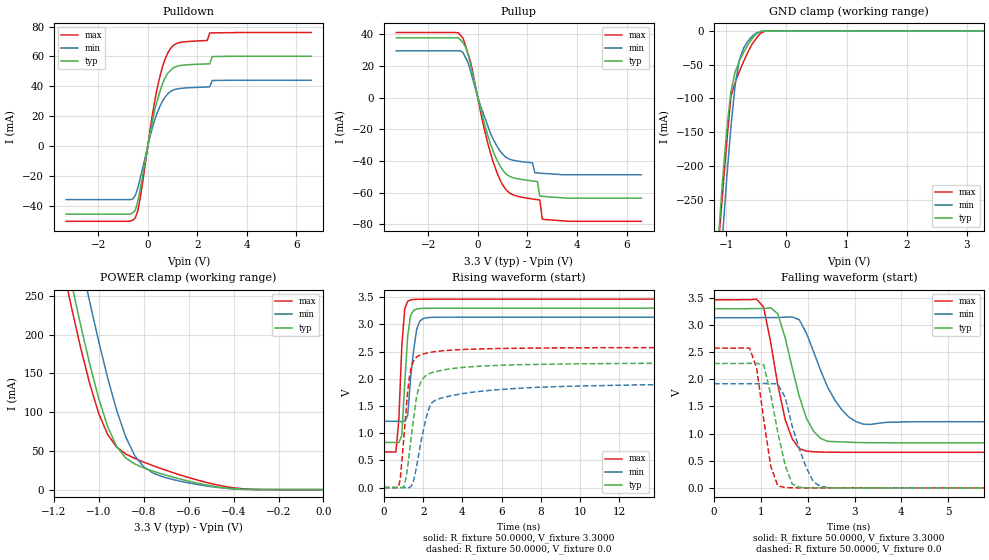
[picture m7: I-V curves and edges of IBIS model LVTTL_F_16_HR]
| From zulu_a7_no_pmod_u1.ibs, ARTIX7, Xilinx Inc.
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[Model]  LVTTL_F_16_HR
Model_type I/O
Polarity   Non-Inverting
Enable   Active-Low
Vinl = 0.80
Vinh = 2.00
Vmeas =  1.6500V
Cref =   0.0F
Rref =   1.0000M
Vref =   0.0V
C_comp   5.2300pF   5.1900pF   5.3600pF
[Temperature Range]   25.0000   85.0000   0.0
[Voltage Range]   3.3000V   3.1350V   3.46500V
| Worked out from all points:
|   slope of the pulldown table from 0 to 0.495 V, typ, clamps not added: 13.5 ohm
|   slope of the pullup table from 0 to 0.495 V, typ, clamps not added: 17.4 ohm
|   GND clamp passes 1 mA (typ) near -0.41 V on its own axis
|   POWER clamp passes 1 mA (typ) near -0.39 V on its own axis
|   rising waveform, R_fixture 50.0000, V_fixture 3.3000: 20-80 % time 251ps typ, 335ps min, 224ps max; typ from 0.829 V to 3.3 V
|   rising waveform, R_fixture 50.0000, V_fixture 0.0: 20-80 % time 537ps typ, 736ps min, 389ps max; typ from 0 V to 2.29 V
|   falling waveform, R_fixture 50.0000, V_fixture 3.3000: 20-80 % time 453ps typ, 576ps min, 377ps max; typ from 3.3 V to 0.829 V
|   falling waveform, R_fixture 50.0000, V_fixture 0.0: 20-80 % time 329ps typ, 409ps min, 257ps max; typ from 2.29 V to 0 V
[Pulldown]
|Voltage   I(typ)   I(min)   I(max)
-3.3V     -45.79mA   -36mA      -50.58mA
-700mV    -45.79mA   -36mA      -50.33mA
-500mV    -42.99mA   -32.98mA   -48.13mA
-300mV    -28.36mA   -21.32mA   -34.26mA
100mV     9.469mA    6.927mA    11.84mA
400mV     31.29mA    23.01mA    40.15mA
700mV     45.76mA    32.78mA    58.29mA
1V        51.89mA    37.29mA    66.91mA
2.4V      55mA       39.51mA    70.74mA
2.5V      55.06mA    39.57mA    75.74mA
2.6V      59.89mA    43.85mA    75.77mA
6.6V      60.14mA    44mA       76.02mA
[Pullup]
|Voltage   I(typ)   I(min)   I(max)
-3.3V     37.8mA     29.58mA    41.11mA
-800mV    37.8mA     29.58mA    41.03mA
-600mV    34.68mA    28.46mA    37.51mA
-300mV    21.11mA    16.86mA    22.89mA
400mV     -23.91mA   -17.89mA   -28.88mA
900mV     -43.28mA   -33.8mA    -52.04mA
1.3V      -49.77mA   -38.95mA   -60.36mA
2.2V      -52.54mA   -41.08mA   -63.92mA
2.4V      -52.89mA   -47.51mA   -64.36mA
2.5V      -62.12mA   -47.63mA   -64.56mA
2.6V      -62.25mA   -47.75mA   -76.71mA
6.6V      -63.38mA   -48.65mA   -78.01mA
[GND_clamp]
|Voltage   I(typ)   I(min)   I(max)
-3.3V     -3.592A    -3.646A    -3.573A
-1.13V    -310.6mA   -396.4mA   -319.4mA
-1.06V    -222.9mA   -304.9mA   -242.5mA
-990mV    -146.4mA   -218.9mA   -165.7mA
-920mV    -90.33mA   -141.8mA   -96.7mA
-850mV    -60.83mA   -80.61mA   -76.38mA
-780mV    -44.89mA   -43.17mA   -60.18mA
-640mV    -21.07mA   -15.49mA   -31.95mA
-500mV    -4.853mA   -3.337mA   -11.33mA
-430mV    -1.242mA   -914.2uA   -3.724mA
-290mV    -20.89uA   -28.76uA   -94.6uA
3.28V     17.72nA    1.486uA    13.79nA
[POWER_clamp]
|Voltage   I(typ)   I(min)   I(max)
-3.28V    3.564A     3.617A     3.545A
-1.16V    319.9mA    407.3mA    287.5mA
-1.12V    264.5mA    350.6mA    233.3mA
-1.08V    211.4mA    295.2mA    182.3mA
-1.04V    161.7mA    241.7mA    136.3mA
-1V       117.3mA    190.8mA    98mA
-960mV    80.91mA    143.7mA    70.72mA
-880mV    40.83mA    67.93mA    46.02mA
-800mV    27.97mA    29.41mA    35.45mA
-680mV    16.97mA    13.71mA    22.87mA
-400mV    1.083mA    965.6uA    2.289mA
0V        0A         0A         0A
[Ramp]
| variable   typ   min   max
dV/dt_r  1.3656/0.5111n   1.1202/0.6680n   1.5444/0.3974n
dV/dt_f  1.4824/0.4504n   1.1502/0.5607n   1.6860/0.3674n
R_load = 50.0000
[Rising Waveform]
R_fixture= 50.0000
V_fixture= 3.3000
V_fixture_min= 3.1350
V_fixture_max= 3.46500
|time   V(typ)   V(min)   V(max)
0s        829.2mV    1.218V     655mV
610ps     827.8mV    1.218V     654.2mV
760ps     826mV      1.217V     1.247V
910ps     959.4mV    1.212V     2.594V
1.06ns    1.917V     1.216V     3.29V
1.21ns    2.784V     1.324V     3.424V
1.36ns    3.164V     2.02V      3.451V
1.67ns    3.284V     2.912V     3.461V
1.97ns    3.295V     3.102V     3.463V
15ns      3.299V     3.134V     3.465V
[Rising Waveform]
R_fixture= 50.0000
V_fixture= 0.0
|time   V(typ)   V(min)   V(max)
0s        0V         793.6nV    0V
743.4ps   -700.8uV   66.1uV     3.35mV
1.022ns   24.02mV    -141.7uV   957.4mV
1.208ns   371.9mV    -5.894mV   1.758V
1.394ns   942.1mV    28.01mV    2.213V
1.673ns   1.694V     402.9mV    2.402V
2.137ns   2.059V     1.261V     2.469V
2.788ns   2.144V     1.629V     2.509V
6.319ns   2.252V     1.813V     2.559V
27.79ns   2.286V     1.919V     2.575V
[Falling Waveform]
R_fixture= 50.0000
V_fixture= 3.3000
V_fixture_min= 3.1350
V_fixture_max= 3.46500
|time   V(typ)   V(min)   V(max)
0s        3.3V       3.135V     3.465V
1.06ns    3.303V     3.138V     3.326V
1.36ns    3.209V     3.136V     1.902V
1.52ns    2.76V      3.146V     1.252V
1.67ns    2.208V     3.149V     901.8mV
1.97ns    1.288V     2.855V     677.9mV
2.27ns    914.2mV    2.178V     659.7mV
2.58ns    851mV      1.616V     656.3mV
3.18ns    833.6mV    1.176V     655.3mV
15ns      829.2mV    1.218V     655mV
[Falling Waveform]
R_fixture= 50.0000
V_fixture= 0.0
|time   V(typ)   V(min)   V(max)
0s        2.291V     1.919V     2.574V
760ps     2.294V     1.919V     2.573V
910ps     2.294V     1.919V     2.201V
1.06ns    2.267V     1.923V     1.259V
1.21ns    1.72V      1.921V     400.4mV
1.52ns    411.5mV    1.665V     4.219mV
1.67ns    71.1mV     1.13V      1.131mV
1.97ns    2.229mV    372.1mV    361.2uV
2.42ns    337.8uV    7.382mV    158uV
15ns      12.53uV    18.97uV    11.74uV
